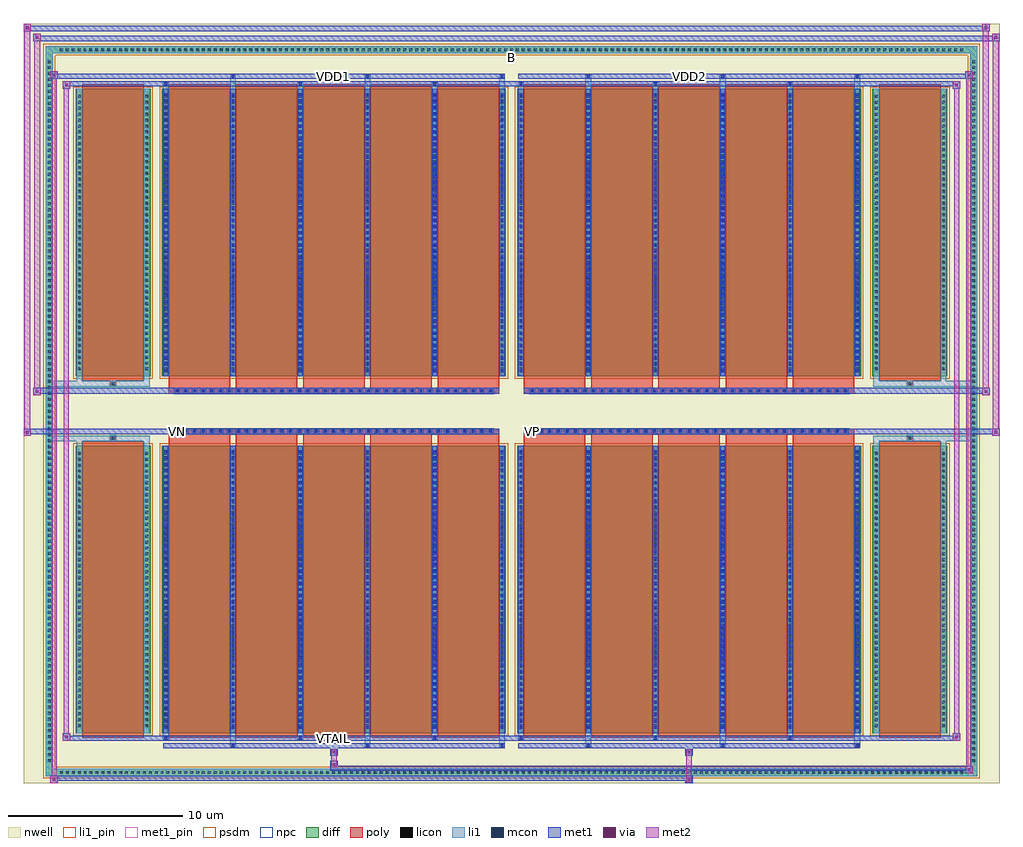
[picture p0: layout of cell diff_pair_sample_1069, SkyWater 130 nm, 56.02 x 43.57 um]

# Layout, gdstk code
import gdstk
lib = gdstk.Library(unit=1e-6, precision=5e-09)
def R(c, l, rs):  # rectangles x0, y0, x1, y1
    for r in rs: c.add(gdstk.rectangle(r[:2], r[2:], *l))
def A(c, l, x, y, w, h, nx, ny, dx, dy):  # array of equal rectangles
    R(c, l, [(x+i*dx, y+j*dy, x+i*dx+w, y+j*dy+h) for i in range(nx) for j in range(ny)])
def P(c, l, *ps):  # polygons
    for p in ps: c.add(gdstk.Polygon(p, *l))
nwell = (64, 20)
diff = (65, 20)
poly = (66, 20)
licon = (66, 44)
li1_pin = (67, 16)
li1 = (67, 20)
mcon = (67, 44)
met1_pin = (68, 16)
met1 = (68, 20)
via = (68, 44)
met2 = (69, 20)
psdm = (94, 20)
npc = (95, 20)

diff_pair_sample_1069 = lib.new_cell('diff_pair_sample_1069')
R(diff_pair_sample_1069, nwell, [(-28.01,-21.35,28.01,22.22), (-25.33,-19.54,-0.01,-0.8), (0.01,-19.54,25.33,-0.8), (-25.33,0.8,-0.01,19.54), (0.01,0.8,25.33,19.54)])
A(diff_pair_sample_1069, diff, -26.045, -20.95, 0.41, 0.41, 153, 2, 0.34, 41.49)
A(diff_pair_sample_1069, diff, -26.74, -20.265, 0.41, 0.41, 1, 119, 0, 0.34)
A(diff_pair_sample_1069, diff, 26.33, -20.265, 0.41, 0.41, 1, 119, 0, 0.34)
R(diff_pair_sample_1069, diff, [(-26.045,-20.95,26.045,-20.54), (-26.74,-20.265,-26.33,20.265), (26.33,-20.265,26.74,20.265), (-25.02,-18.495,-20.71,-1.985), (-20.07,-18.495,-0.32,-1.985), (0.32,-18.495,20.07,-1.985), (20.71,-18.495,25.02,-1.985), (-25.02,1.985,-20.71,18.495), (-20.07,1.985,-0.32,18.495), (0.32,1.985,20.07,18.495), (20.71,1.985,25.02,18.495), (-26.045,20.54,26.045,20.95)])
P(diff_pair_sample_1069, diff, [(26.74,20.95),(-26.74,20.95),(-26.74,-20.54),(-26.33,-20.54),(-26.33,20.54),(26.33,20.54),(26.33,-20.54),(-26.33,-20.54),(-26.74,-20.54),(-26.74,-20.95),(26.74,-20.95)])
A(diff_pair_sample_1069, poly, -19.68, -18.745, 3.53, 17.01, 5, 2, 3.86, 20.48)
A(diff_pair_sample_1069, poly, 0.71, -18.745, 3.53, 17.01, 5, 2, 3.86, 20.48)
A(diff_pair_sample_1069, poly, -19.68, -1.735, 3.53, 0.405, 5, 2, 3.86, 3.065)
A(diff_pair_sample_1069, poly, 0.71, -1.735, 3.53, 0.405, 5, 2, 3.86, 3.065)
A(diff_pair_sample_1069, poly, -19.36, -1.33, 0.33, 0.33, 37, 2, 0.5, 2.33)
A(diff_pair_sample_1069, poly, 1.03, -1.33, 0.33, 0.33, 37, 2, 0.5, 2.33)
R(diff_pair_sample_1069, poly, [(-24.63,-18.745,-21.1,-1.735), (21.1,-18.745,24.63,-1.735), (-23.03,-1.735,-22.7,-1.405), (-23.03,-1.735,-22.7,-1.405), (22.7,-1.735,23.03,-1.405), (22.7,-1.735,23.03,-1.405), (-19.68,-1.33,-0.71,-1), (0.71,-1.33,19.68,-1), (-19.68,1,-0.71,1.33), (0.71,1,19.68,1.33), (-23.03,1.405,-22.7,1.735), (-23.03,1.405,-22.7,1.735), (22.7,1.405,23.03,1.735), (22.7,1.405,23.03,1.735), (-24.63,1.735,-21.1,18.745), (21.1,1.735,24.63,18.745)])
A(diff_pair_sample_1069, licon, -25.925, -20.83, 0.17, 0.17, 153, 2, 0.34, 41.49)
A(diff_pair_sample_1069, licon, -26.62, -20.145, 0.17, 0.17, 1, 119, 0, 0.34)
A(diff_pair_sample_1069, licon, 26.45, -20.145, 0.17, 0.17, 1, 119, 0, 0.34)
A(diff_pair_sample_1069, licon, -24.88, -18.145, 0.17, 0.17, 1, 47, 0, 0.34)
A(diff_pair_sample_1069, licon, -21.02, -18.145, 0.17, 0.17, 1, 47, 0, 0.34)
A(diff_pair_sample_1069, licon, -19.93, -18.145, 0.17, 0.17, 6, 47, 3.86, 0.34)
A(diff_pair_sample_1069, licon, 0.46, -18.145, 0.17, 0.17, 6, 47, 3.86, 0.34)
A(diff_pair_sample_1069, licon, 20.85, -18.145, 0.17, 0.17, 1, 47, 0, 0.34)
A(diff_pair_sample_1069, licon, 24.71, -18.145, 0.17, 0.17, 1, 47, 0, 0.34)
A(diff_pair_sample_1069, licon, -19.28, -1.25, 0.17, 0.17, 37, 2, 0.5, 2.33)
A(diff_pair_sample_1069, licon, 1.11, -1.25, 0.17, 0.17, 37, 2, 0.5, 2.33)
A(diff_pair_sample_1069, licon, -24.88, 2.335, 0.17, 0.17, 1, 47, 0, 0.34)
A(diff_pair_sample_1069, licon, -21.02, 2.335, 0.17, 0.17, 1, 47, 0, 0.34)
A(diff_pair_sample_1069, licon, -19.93, 2.335, 0.17, 0.17, 6, 47, 3.86, 0.34)
A(diff_pair_sample_1069, licon, 0.46, 2.335, 0.17, 0.17, 6, 47, 3.86, 0.34)
A(diff_pair_sample_1069, licon, 20.85, 2.335, 0.17, 0.17, 1, 47, 0, 0.34)
A(diff_pair_sample_1069, licon, 24.71, 2.335, 0.17, 0.17, 1, 47, 0, 0.34)
R(diff_pair_sample_1069, licon, [(-22.95,-1.655,-22.78,-1.485), (22.78,-1.655,22.95,-1.485), (-22.95,1.485,-22.78,1.655), (22.78,1.485,22.95,1.655)])
R(diff_pair_sample_1069, li1_pin, [(-0.25,20.04,0.25,20.54)])
A(diff_pair_sample_1069, li1, -26.005, -20.91, 0.33, 0.33, 153, 2, 0.34, 41.49)
A(diff_pair_sample_1069, li1, -26.7, -20.225, 0.33, 0.33, 1, 119, 0, 0.34)
A(diff_pair_sample_1069, li1, 26.37, -20.225, 0.33, 0.33, 1, 119, 0, 0.34)
A(diff_pair_sample_1069, li1, -16.15, -19.3, 0.33, 0.805, 3, 2, 7.72, 37.795)
A(diff_pair_sample_1069, li1, -16.07, -19.3, 0.17, 0.17, 3, 2, 7.72, 38.43)
A(diff_pair_sample_1069, li1, 4.24, -19.3, 0.33, 0.805, 3, 2, 7.72, 37.795)
A(diff_pair_sample_1069, li1, 4.32, -19.3, 0.17, 0.17, 3, 2, 7.72, 38.43)
A(diff_pair_sample_1069, li1, -20.01, -18.87, 0.33, 0.375, 3, 2, 7.72, 37.365)
A(diff_pair_sample_1069, li1, -19.93, -18.87, 0.17, 0.17, 3, 2, 7.72, 37.57)
A(diff_pair_sample_1069, li1, 0.38, -18.87, 0.33, 0.375, 3, 2, 7.72, 37.365)
A(diff_pair_sample_1069, li1, 0.46, -18.87, 0.17, 0.17, 3, 2, 7.72, 37.57)
A(diff_pair_sample_1069, li1, -20.01, -18.495, 0.33, 16.51, 6, 2, 3.86, 20.48)
A(diff_pair_sample_1069, li1, 0.38, -18.495, 0.33, 16.51, 6, 2, 3.86, 20.48)
A(diff_pair_sample_1069, li1, -19.93, -18.245, 0.17, 0.17, 6, 45, 3.86, 0.36)
A(diff_pair_sample_1069, li1, -19.93, -18.245, 0.17, 16.01, 6, 2, 3.86, 20.48)
A(diff_pair_sample_1069, li1, 0.46, -18.245, 0.17, 0.17, 6, 45, 3.86, 0.36)
A(diff_pair_sample_1069, li1, 0.46, -18.245, 0.17, 16.01, 6, 2, 3.86, 20.48)
A(diff_pair_sample_1069, li1, -24.96, -18.225, 0.33, 0.33, 1, 47, 0, 0.34)
A(diff_pair_sample_1069, li1, -21.1, -18.225, 0.33, 0.33, 1, 47, 0, 0.34)
A(diff_pair_sample_1069, li1, -20.01, -18.225, 0.33, 0.33, 6, 47, 3.86, 0.34)
A(diff_pair_sample_1069, li1, 0.38, -18.225, 0.33, 0.33, 6, 47, 3.86, 0.34)
A(diff_pair_sample_1069, li1, 20.77, -18.225, 0.33, 0.33, 1, 47, 0, 0.34)
A(diff_pair_sample_1069, li1, 24.63, -18.225, 0.33, 0.33, 1, 47, 0, 0.34)
A(diff_pair_sample_1069, li1, -19.36, -1.33, 0.33, 0.33, 37, 2, 0.5, 2.33)
A(diff_pair_sample_1069, li1, 1.03, -1.33, 0.33, 0.33, 37, 2, 0.5, 2.33)
A(diff_pair_sample_1069, li1, -19.93, 2.235, 0.17, 0.17, 6, 45, 3.86, 0.36)
A(diff_pair_sample_1069, li1, 0.46, 2.235, 0.17, 0.17, 6, 45, 3.86, 0.36)
A(diff_pair_sample_1069, li1, -24.96, 2.255, 0.33, 0.33, 1, 47, 0, 0.34)
A(diff_pair_sample_1069, li1, -21.1, 2.255, 0.33, 0.33, 1, 47, 0, 0.34)
A(diff_pair_sample_1069, li1, -20.01, 2.255, 0.33, 0.33, 6, 47, 3.86, 0.34)
A(diff_pair_sample_1069, li1, 0.38, 2.255, 0.33, 0.33, 6, 47, 3.86, 0.34)
A(diff_pair_sample_1069, li1, 20.77, 2.255, 0.33, 0.33, 1, 47, 0, 0.34)
A(diff_pair_sample_1069, li1, 24.63, 2.255, 0.33, 0.33, 1, 47, 0, 0.34)
R(diff_pair_sample_1069, li1, [(-26.74,-20.95,-26.33,-20.54), (-26.74,-20.95,-26.33,-20.54), (-26.33,-20.95,26.33,-20.54), (26.33,-20.95,26.74,-20.54), (26.33,-20.95,26.74,-20.54), (-26.74,-20.54,-26.33,20.54), (26.33,-20.54,26.74,20.54), (-24.96,-18.495,-24.63,-1.985), (-21.1,-18.495,-20.77,-1.985), (20.77,-18.495,21.1,-1.985), (24.63,-18.495,24.96,-1.985), (-24.96,-1.985,-24.63,-1.405), (-21.1,-1.985,-20.77,-1.405), (20.77,-1.985,21.1,-1.405), (24.63,-1.985,24.96,-1.405), (-26.74,-1.735,-23.03,-1.405), (-24.96,-1.735,-23.03,-1.405), (-23.03,-1.735,-22.7,-1.405), (-22.7,-1.735,-20.77,-1.405), (20.77,-1.735,22.7,-1.405), (22.7,-1.735,23.03,-1.405), (22.7,-1.735,26.74,-1.405), (23.03,-1.735,24.96,-1.405), (-26.74,1.405,-23.03,1.735), (-24.96,1.405,-23.03,1.735), (-24.96,1.405,-24.63,1.985), (-23.03,1.405,-22.7,1.735), (-22.7,1.405,-20.77,1.735), (-21.1,1.405,-20.77,1.985), (20.77,1.405,22.7,1.735), (20.77,1.405,21.1,1.985), (22.7,1.405,23.03,1.735), (22.7,1.405,26.74,1.735), (23.03,1.405,24.96,1.735), (24.63,1.405,24.96,1.985), (-24.96,1.985,-24.63,18.495), (-21.1,1.985,-20.77,18.495), (20.77,1.985,21.1,18.495), (24.63,1.985,24.96,18.495), (-26.74,20.54,-26.33,20.95), (-26.74,20.54,-26.33,20.95), (-26.33,20.54,26.33,20.95), (26.33,20.54,26.74,20.95), (26.33,20.54,26.74,20.95)])
A(diff_pair_sample_1069, mcon, -16.07, -19.3, 0.17, 0.17, 3, 2, 7.72, 38.43)
A(diff_pair_sample_1069, mcon, 4.32, -19.3, 0.17, 0.17, 3, 2, 7.72, 38.43)
A(diff_pair_sample_1069, mcon, -19.93, -18.87, 0.17, 0.17, 3, 2, 7.72, 37.57)
A(diff_pair_sample_1069, mcon, 0.46, -18.87, 0.17, 0.17, 3, 2, 7.72, 37.57)
A(diff_pair_sample_1069, mcon, -19.93, -18.245, 0.17, 0.17, 6, 45, 3.86, 0.36)
A(diff_pair_sample_1069, mcon, 0.46, -18.245, 0.17, 0.17, 6, 45, 3.86, 0.36)
A(diff_pair_sample_1069, mcon, -19.28, -1.25, 0.17, 0.17, 37, 2, 0.5, 2.33)
A(diff_pair_sample_1069, mcon, 1.11, -1.25, 0.17, 0.17, 37, 2, 0.5, 2.33)
A(diff_pair_sample_1069, mcon, -19.93, 2.235, 0.17, 0.17, 6, 45, 3.86, 0.36)
A(diff_pair_sample_1069, mcon, 0.46, 2.235, 0.17, 0.17, 6, 45, 3.86, 0.36)
R(diff_pair_sample_1069, met1_pin, [(-10.33,-18.91,-10.06,-18.64), (-19.33,-1.29,-19.06,-1.02), (1.06,-1.29,1.33,-1.02), (-10.33,19.09,-10.06,19.36), (10.06,19.09,10.33,19.36)])
A(diff_pair_sample_1069, met1, -16.13, -19.36, 0.29, 0.29, 3, 2, 7.72, 38.43)
A(diff_pair_sample_1069, met1, 4.26, -19.36, 0.29, 0.29, 3, 2, 7.72, 38.43)
A(diff_pair_sample_1069, met1, -19.99, -18.93, 0.29, 0.29, 3, 2, 7.72, 37.57)
A(diff_pair_sample_1069, met1, 0.4, -18.93, 0.29, 0.29, 3, 2, 7.72, 37.57)
A(diff_pair_sample_1069, met1, -19.99, -18.495, 0.29, 16.51, 6, 2, 3.86, 20.48)
A(diff_pair_sample_1069, met1, 0.4, -18.495, 0.29, 16.51, 6, 2, 3.86, 20.48)
A(diff_pair_sample_1069, met1, -19.99, -18.305, 0.29, 0.29, 6, 45, 3.86, 0.36)
A(diff_pair_sample_1069, met1, 0.4, -18.305, 0.29, 0.29, 6, 45, 3.86, 0.36)
A(diff_pair_sample_1069, met1, -19.34, -1.31, 0.29, 0.29, 37, 2, 0.5, 2.33)
A(diff_pair_sample_1069, met1, 1.05, -1.31, 0.29, 0.29, 37, 2, 0.5, 2.33)
A(diff_pair_sample_1069, met1, -19.99, 2.175, 0.29, 0.29, 6, 45, 3.86, 0.36)
A(diff_pair_sample_1069, met1, 0.4, 2.175, 0.29, 0.29, 6, 45, 3.86, 0.36)
R(diff_pair_sample_1069, met1, [(-26.47,-21.35,-26.04,-20.92), (9.98,-21.35,10.41,-20.92), (-26.47,-21.21,10.41,-20.92), (26.04,-20.78,26.47,-20.35), (-10.41,-20.64,26.47,-20.35), (-10.41,-20.5,-9.98,-20.07), (-10.41,-19.79,-9.98,-19.36), (9.98,-19.79,10.41,-19.36), (-19.99,-19.36,-0.4,-19.07), (0.4,-19.36,19.99,-19.07), (-25.76,-18.93,-25.33,-18.5), (-25.76,-18.93,-19.99,-18.64), (-19.99,-18.93,-0.4,-18.64), (-0.4,-18.93,0.4,-18.64), (0.4,-18.93,19.99,-18.64), (19.99,-18.93,25.76,-18.64), (25.33,-18.93,25.76,-18.5), (-28.01,-1.43,-27.58,-1), (27.58,-1.43,28.01,-1), (-28.01,-1.33,-0.71,-1), (-19.68,-1.33,-0.71,-1), (0.71,-1.33,19.68,-1), (0.71,-1.33,28.01,-1), (-27.44,0.9,-27.01,1.33), (27.01,0.9,27.44,1.33), (-27.44,1,-19.68,1.33), (-19.68,1,-0.71,1.33), (0.71,1,19.68,1.33), (19.68,1,27.44,1.33), (-25.76,18.5,-25.33,18.93), (25.33,18.5,25.76,18.93), (-25.76,18.64,-19.99,18.93), (-19.99,18.64,-0.4,18.93), (-0.4,18.64,0.4,18.93), (0.4,18.64,19.99,18.93), (19.99,18.64,25.76,18.93), (-26.47,19.07,-26.04,19.5), (-26.47,19.07,-19.99,19.36), (-19.99,19.07,-0.4,19.36), (0.4,19.07,19.99,19.36), (19.99,19.07,26.47,19.36), (26.04,19.07,26.47,19.5), (-27.44,21.22,-27.01,21.65), (-27.44,21.22,-25.33,21.55), (-25.33,21.22,25.33,21.55), (25.33,21.22,28.01,21.55), (27.58,21.22,28.01,21.65), (-28.01,21.79,-27.58,22.22), (-28.01,21.79,-25.33,22.12), (-25.33,21.79,25.33,22.12), (25.33,21.79,27.44,22.12), (27.01,21.79,27.44,22.22)])
R(diff_pair_sample_1069, via, [(-26.33,-21.21,-26.18,-21.06), (10.12,-21.21,10.27,-21.06), (26.18,-20.64,26.33,-20.49), (-10.27,-20.36,-10.12,-20.21), (-10.27,-19.65,-10.12,-19.5), (10.12,-19.65,10.27,-19.5), (-25.62,-18.79,-25.47,-18.64), (25.47,-18.79,25.62,-18.64), (-27.87,-1.29,-27.72,-1.14), (27.72,-1.29,27.87,-1.14), (-27.3,1.04,-27.15,1.19), (27.15,1.04,27.3,1.19), (-25.62,18.64,-25.47,18.79), (25.47,18.64,25.62,18.79), (-26.33,19.21,-26.18,19.36), (26.18,19.21,26.33,19.36), (-27.3,21.36,-27.15,21.51), (27.72,21.36,27.87,21.51), (-27.87,21.93,-27.72,22.08), (27.15,21.93,27.3,22.08)])
R(diff_pair_sample_1069, met2, [(-26.47,-21.35,-26.04,-20.92), (-26.4,-21.35,-26.11,19.5), (-26.11,-21.35,-26.04,-20.92), (-26.42,-21.3,-26.09,-20.97), (10.03,-21.3,10.36,-20.97), (10.03,-20.97,10.36,-19.74), (26.04,-20.78,26.47,-20.35), (26.11,-20.78,26.4,19.5), (26.4,-20.78,26.47,-20.35), (26.09,-20.73,26.42,-20.4), (-10.36,-20.45,-10.03,-20.12), (-10.36,-20.12,-10.03,-19.74), (-10.36,-19.74,-10.03,-19.41), (10.03,-19.74,10.36,-19.41), (-25.76,-18.93,-25.33,-18.5), (-25.69,-18.93,-25.4,18.93), (-25.4,-18.93,-25.33,-18.5), (25.33,-18.93,25.76,-18.5), (25.4,-18.93,25.69,18.93), (25.69,-18.93,25.76,-18.5), (-25.71,-18.88,-25.38,-18.55), (25.38,-18.88,25.71,-18.55), (-28.01,-1.43,-27.58,-1), (-27.96,-1.43,-27.63,22.22), (-27.63,-1.43,-27.58,-1), (27.58,-1.43,28.01,-1), (27.63,-1.43,27.96,21.65), (27.96,-1.43,28.01,-1), (-27.96,-1.38,-27.63,-1.05), (27.63,-1.38,27.96,-1.05), (-27.44,0.9,-27.01,1.33), (-27.39,0.9,-27.06,21.65), (-27.06,0.9,-27.01,1.33), (27.01,0.9,27.44,1.33), (27.06,0.9,27.39,22.22), (27.39,0.9,27.44,1.33), (-27.39,0.95,-27.06,1.28), (27.06,0.95,27.39,1.28), (-25.76,18.5,-25.33,18.93), (-25.4,18.5,-25.33,18.93), (25.33,18.5,25.76,18.93), (25.69,18.5,25.76,18.93), (-25.71,18.55,-25.38,18.88), (25.38,18.55,25.71,18.88), (-26.47,19.07,-26.04,19.5), (-26.11,19.07,-26.04,19.5), (26.04,19.07,26.47,19.5), (26.4,19.07,26.47,19.5), (-26.42,19.12,-26.09,19.45), (26.09,19.12,26.42,19.45), (-27.44,21.22,-27.01,21.65), (-27.06,21.22,-27.01,21.65), (27.58,21.22,28.01,21.65), (27.96,21.22,28.01,21.65), (-27.39,21.27,-27.06,21.6), (27.63,21.27,27.96,21.6), (-28.01,21.79,-27.58,22.22), (-27.63,21.79,-27.58,22.22), (27.01,21.79,27.44,22.22), (27.39,21.79,27.44,22.22), (-27.96,21.84,-27.63,22.17), (27.06,21.84,27.39,22.17)])
R(diff_pair_sample_1069, psdm, [(-25.15,-18.625,-20.58,-1.855), (-20.2,-18.625,-0.19,-1.855), (0.19,-18.625,20.2,-1.855), (20.58,-18.625,25.15,-1.855), (-25.15,1.855,-20.58,18.625), (-20.2,1.855,-0.19,18.625), (0.19,1.855,20.2,18.625), (20.58,1.855,25.15,18.625)])
P(diff_pair_sample_1069, psdm, [(26.87,21.08),(-26.87,21.08),(-26.87,-20.41),(-26.2,-20.41),(-26.2,20.41),(26.2,20.41),(26.2,-20.41),(-26.2,-20.41),(-26.87,-20.41),(-26.87,-21.08),(26.87,-21.08)])
A(diff_pair_sample_1069, npc, -19.38, -1.35, 0.37, 0.37, 37, 2, 0.5, 2.33)
A(diff_pair_sample_1069, npc, 1.01, -1.35, 0.37, 0.37, 37, 2, 0.5, 2.33)
R(diff_pair_sample_1069, npc, [(-23.05,-1.755,-22.68,-1.385), (22.68,-1.755,23.05,-1.385), (-19.38,-1.35,-18.51,-0.98), (-19.38,-1.35,-18.51,-0.98), (-18.88,-1.35,-18.01,-0.98), (-18.88,-1.35,-18.01,-0.98), (-18.38,-1.35,-17.51,-0.98), (-18.38,-1.35,-17.51,-0.98), (-17.88,-1.35,-17.01,-0.98), (-17.88,-1.35,-17.01,-0.98), (-17.38,-1.35,-16.51,-0.98), (-17.38,-1.35,-16.51,-0.98), (-16.88,-1.35,-16.01,-0.98), (-16.88,-1.35,-16.01,-0.98), (-16.38,-1.35,-15.51,-0.98), (-16.38,-1.35,-15.51,-0.98), (-15.88,-1.35,-15.01,-0.98), (-15.88,-1.35,-15.01,-0.98), (-15.38,-1.35,-14.51,-0.98), (-15.38,-1.35,-14.51,-0.98), (-14.88,-1.35,-14.01,-0.98), (-14.88,-1.35,-14.01,-0.98), (-14.38,-1.35,-13.51,-0.98), (-14.38,-1.35,-13.51,-0.98), (-13.88,-1.35,-13.01,-0.98), (-13.88,-1.35,-13.01,-0.98), (-13.38,-1.35,-12.51,-0.98), (-13.38,-1.35,-12.51,-0.98), (-12.88,-1.35,-12.01,-0.98), (-12.88,-1.35,-12.01,-0.98), (-12.38,-1.35,-11.51,-0.98), (-12.38,-1.35,-11.51,-0.98), (-11.88,-1.35,-11.01,-0.98), (-11.88,-1.35,-11.01,-0.98), (-11.38,-1.35,-10.51,-0.98), (-11.38,-1.35,-10.51,-0.98), (-10.88,-1.35,-10.01,-0.98), (-10.88,-1.35,-10.01,-0.98), (-10.38,-1.35,-9.51,-0.98), (-10.38,-1.35,-9.51,-0.98), (-9.88,-1.35,-9.01,-0.98), (-9.88,-1.35,-9.01,-0.98), (-9.38,-1.35,-8.51,-0.98), (-9.38,-1.35,-8.51,-0.98), (-8.88,-1.35,-8.01,-0.98), (-8.88,-1.35,-8.01,-0.98), (-8.38,-1.35,-7.51,-0.98), (-8.38,-1.35,-7.51,-0.98), (-7.88,-1.35,-7.01,-0.98), (-7.88,-1.35,-7.01,-0.98), (-7.38,-1.35,-6.51,-0.98), (-7.38,-1.35,-6.51,-0.98), (-6.88,-1.35,-6.01,-0.98), (-6.88,-1.35,-6.01,-0.98), (-6.38,-1.35,-5.51,-0.98), (-6.38,-1.35,-5.51,-0.98), (-5.88,-1.35,-5.01,-0.98), (-5.88,-1.35,-5.01,-0.98), (-5.38,-1.35,-4.51,-0.98), (-5.38,-1.35,-4.51,-0.98), (-4.88,-1.35,-4.01,-0.98), (-4.88,-1.35,-4.01,-0.98), (-4.38,-1.35,-3.51,-0.98), (-4.38,-1.35,-3.51,-0.98), (-3.88,-1.35,-3.01,-0.98), (-3.88,-1.35,-3.01,-0.98), (-3.38,-1.35,-2.51,-0.98), (-3.38,-1.35,-2.51,-0.98), (-2.88,-1.35,-2.01,-0.98), (-2.88,-1.35,-2.01,-0.98), (-2.38,-1.35,-1.51,-0.98), (-2.38,-1.35,-1.51,-0.98), (-1.88,-1.35,-1.01,-0.98), (-1.88,-1.35,-1.01,-0.98), (1.01,-1.35,1.88,-0.98), (1.01,-1.35,1.88,-0.98), (1.51,-1.35,2.38,-0.98), (1.51,-1.35,2.38,-0.98), (2.01,-1.35,2.88,-0.98), (2.01,-1.35,2.88,-0.98), (2.51,-1.35,3.38,-0.98), (2.51,-1.35,3.38,-0.98), (3.01,-1.35,3.88,-0.98), (3.01,-1.35,3.88,-0.98), (3.51,-1.35,4.38,-0.98), (3.51,-1.35,4.38,-0.98), (4.01,-1.35,4.88,-0.98), (4.01,-1.35,4.88,-0.98), (4.51,-1.35,5.38,-0.98), (4.51,-1.35,5.38,-0.98), (5.01,-1.35,5.88,-0.98), (5.01,-1.35,5.88,-0.98), (5.51,-1.35,6.38,-0.98), (5.51,-1.35,6.38,-0.98), (6.01,-1.35,6.88,-0.98), (6.01,-1.35,6.88,-0.98), (6.51,-1.35,7.38,-0.98), (6.51,-1.35,7.38,-0.98), (7.01,-1.35,7.88,-0.98), (7.01,-1.35,7.88,-0.98), (7.51,-1.35,8.38,-0.98), (7.51,-1.35,8.38,-0.98), (8.01,-1.35,8.88,-0.98), (8.01,-1.35,8.88,-0.98), (8.51,-1.35,9.38,-0.98), (8.51,-1.35,9.38,-0.98), (9.01,-1.35,9.88,-0.98), (9.01,-1.35,9.88,-0.98), (9.51,-1.35,10.38,-0.98), (9.51,-1.35,10.38,-0.98), (10.01,-1.35,10.88,-0.98), (10.01,-1.35,10.88,-0.98), (10.51,-1.35,11.38,-0.98), (10.51,-1.35,11.38,-0.98), (11.01,-1.35,11.88,-0.98), (11.01,-1.35,11.88,-0.98), (11.51,-1.35,12.38,-0.98), (11.51,-1.35,12.38,-0.98), (12.01,-1.35,12.88,-0.98), (12.01,-1.35,12.88,-0.98), (12.51,-1.35,13.38,-0.98), (12.51,-1.35,13.38,-0.98), (13.01,-1.35,13.88,-0.98), (13.01,-1.35,13.88,-0.98), (13.51,-1.35,14.38,-0.98), (13.51,-1.35,14.38,-0.98), (14.01,-1.35,14.88,-0.98), (14.01,-1.35,14.88,-0.98), (14.51,-1.35,15.38,-0.98), (14.51,-1.35,15.38,-0.98), (15.01,-1.35,15.88,-0.98), (15.01,-1.35,15.88,-0.98), (15.51,-1.35,16.38,-0.98), (15.51,-1.35,16.38,-0.98), (16.01,-1.35,16.88,-0.98), (16.01,-1.35,16.88,-0.98), (16.51,-1.35,17.38,-0.98), (16.51,-1.35,17.38,-0.98), (17.01,-1.35,17.88,-0.98), (17.01,-1.35,17.88,-0.98), (17.51,-1.35,18.38,-0.98), (17.51,-1.35,18.38,-0.98), (18.01,-1.35,18.88,-0.98), (18.01,-1.35,18.88,-0.98), (18.51,-1.35,19.38,-0.98), (18.51,-1.35,19.38,-0.98), (-19.38,0.98,-18.51,1.35), (-19.38,0.98,-18.51,1.35), (-18.88,0.98,-18.01,1.35), (-18.88,0.98,-18.01,1.35), (-18.38,0.98,-17.51,1.35), (-18.38,0.98,-17.51,1.35), (-17.88,0.98,-17.01,1.35), (-17.88,0.98,-17.01,1.35), (-17.38,0.98,-16.51,1.35), (-17.38,0.98,-16.51,1.35), (-16.88,0.98,-16.01,1.35), (-16.88,0.98,-16.01,1.35), (-16.38,0.98,-15.51,1.35), (-16.38,0.98,-15.51,1.35), (-15.88,0.98,-15.01,1.35), (-15.88,0.98,-15.01,1.35), (-15.38,0.98,-14.51,1.35), (-15.38,0.98,-14.51,1.35), (-14.88,0.98,-14.01,1.35), (-14.88,0.98,-14.01,1.35), (-14.38,0.98,-13.51,1.35), (-14.38,0.98,-13.51,1.35), (-13.88,0.98,-13.01,1.35), (-13.88,0.98,-13.01,1.35), (-13.38,0.98,-12.51,1.35), (-13.38,0.98,-12.51,1.35), (-12.88,0.98,-12.01,1.35), (-12.88,0.98,-12.01,1.35), (-12.38,0.98,-11.51,1.35), (-12.38,0.98,-11.51,1.35), (-11.88,0.98,-11.01,1.35), (-11.88,0.98,-11.01,1.35), (-11.38,0.98,-10.51,1.35), (-11.38,0.98,-10.51,1.35), (-10.88,0.98,-10.01,1.35), (-10.88,0.98,-10.01,1.35), (-10.38,0.98,-9.51,1.35), (-10.38,0.98,-9.51,1.35), (-9.88,0.98,-9.01,1.35), (-9.88,0.98,-9.01,1.35), (-9.38,0.98,-8.51,1.35), (-9.38,0.98,-8.51,1.35), (-8.88,0.98,-8.01,1.35), (-8.88,0.98,-8.01,1.35), (-8.38,0.98,-7.51,1.35), (-8.38,0.98,-7.51,1.35), (-7.88,0.98,-7.01,1.35), (-7.88,0.98,-7.01,1.35), (-7.38,0.98,-6.51,1.35), (-7.38,0.98,-6.51,1.35), (-6.88,0.98,-6.01,1.35), (-6.88,0.98,-6.01,1.35), (-6.38,0.98,-5.51,1.35), (-6.38,0.98,-5.51,1.35), (-5.88,0.98,-5.01,1.35), (-5.88,0.98,-5.01,1.35), (-5.38,0.98,-4.51,1.35), (-5.38,0.98,-4.51,1.35), (-4.88,0.98,-4.01,1.35), (-4.88,0.98,-4.01,1.35), (-4.38,0.98,-3.51,1.35), (-4.38,0.98,-3.51,1.35), (-3.88,0.98,-3.01,1.35), (-3.88,0.98,-3.01,1.35), (-3.38,0.98,-2.51,1.35), (-3.38,0.98,-2.51,1.35), (-2.88,0.98,-2.01,1.35), (-2.88,0.98,-2.01,1.35), (-2.38,0.98,-1.51,1.35), (-2.38,0.98,-1.51,1.35), (-1.88,0.98,-1.01,1.35), (-1.88,0.98,-1.01,1.35), (1.01,0.98,1.88,1.35), (1.01,0.98,1.88,1.35), (1.51,0.98,2.38,1.35), (1.51,0.98,2.38,1.35), (2.01,0.98,2.88,1.35), (2.01,0.98,2.88,1.35), (2.51,0.98,3.38,1.35), (2.51,0.98,3.38,1.35), (3.01,0.98,3.88,1.35), (3.01,0.98,3.88,1.35), (3.51,0.98,4.38,1.35), (3.51,0.98,4.38,1.35), (4.01,0.98,4.88,1.35), (4.01,0.98,4.88,1.35), (4.51,0.98,5.38,1.35), (4.51,0.98,5.38,1.35), (5.01,0.98,5.88,1.35), (5.01,0.98,5.88,1.35), (5.51,0.98,6.38,1.35), (5.51,0.98,6.38,1.35), (6.01,0.98,6.88,1.35), (6.01,0.98,6.88,1.35), (6.51,0.98,7.38,1.35), (6.51,0.98,7.38,1.35), (7.01,0.98,7.88,1.35), (7.01,0.98,7.88,1.35), (7.51,0.98,8.38,1.35), (7.51,0.98,8.38,1.35), (8.01,0.98,8.88,1.35), (8.01,0.98,8.88,1.35), (8.51,0.98,9.38,1.35), (8.51,0.98,9.38,1.35), (9.01,0.98,9.88,1.35), (9.01,0.98,9.88,1.35), (9.51,0.98,10.38,1.35), (9.51,0.98,10.38,1.35), (10.01,0.98,10.88,1.35), (10.01,0.98,10.88,1.35), (10.51,0.98,11.38,1.35), (10.51,0.98,11.38,1.35), (11.01,0.98,11.88,1.35), (11.01,0.98,11.88,1.35), (11.51,0.98,12.38,1.35), (11.51,0.98,12.38,1.35), (12.01,0.98,12.88,1.35), (12.01,0.98,12.88,1.35), (12.51,0.98,13.38,1.35), (12.51,0.98,13.38,1.35), (13.01,0.98,13.88,1.35), (13.01,0.98,13.88,1.35), (13.51,0.98,14.38,1.35), (13.51,0.98,14.38,1.35), (14.01,0.98,14.88,1.35), (14.01,0.98,14.88,1.35), (14.51,0.98,15.38,1.35), (14.51,0.98,15.38,1.35), (15.01,0.98,15.88,1.35), (15.01,0.98,15.88,1.35), (15.51,0.98,16.38,1.35), (15.51,0.98,16.38,1.35), (16.01,0.98,16.88,1.35), (16.01,0.98,16.88,1.35), (16.51,0.98,17.38,1.35), (16.51,0.98,17.38,1.35), (17.01,0.98,17.88,1.35), (17.01,0.98,17.88,1.35), (17.51,0.98,18.38,1.35), (17.51,0.98,18.38,1.35), (18.01,0.98,18.88,1.35), (18.01,0.98,18.88,1.35), (18.51,0.98,19.38,1.35), (18.51,0.98,19.38,1.35), (-23.05,1.385,-22.68,1.755), (22.68,1.385,23.05,1.755)])
diff_pair_sample_1069.add(gdstk.Label('VTAIL', (-10.195,-18.775), layer=68, texttype=5))
diff_pair_sample_1069.add(gdstk.Label('VN', (-19.195,-1.155), layer=68, texttype=5))
diff_pair_sample_1069.add(gdstk.Label('VP', (1.195,-1.155), layer=68, texttype=5))
diff_pair_sample_1069.add(gdstk.Label('B', (0,20.29), layer=67, texttype=5))
diff_pair_sample_1069.add(gdstk.Label('VDD2', (10.195,19.225), layer=68, texttype=5))
diff_pair_sample_1069.add(gdstk.Label('VDD1', (-10.195,19.225), layer=68, texttype=5))

lib.write_gds('diff_pair_sample_1069.gds')
